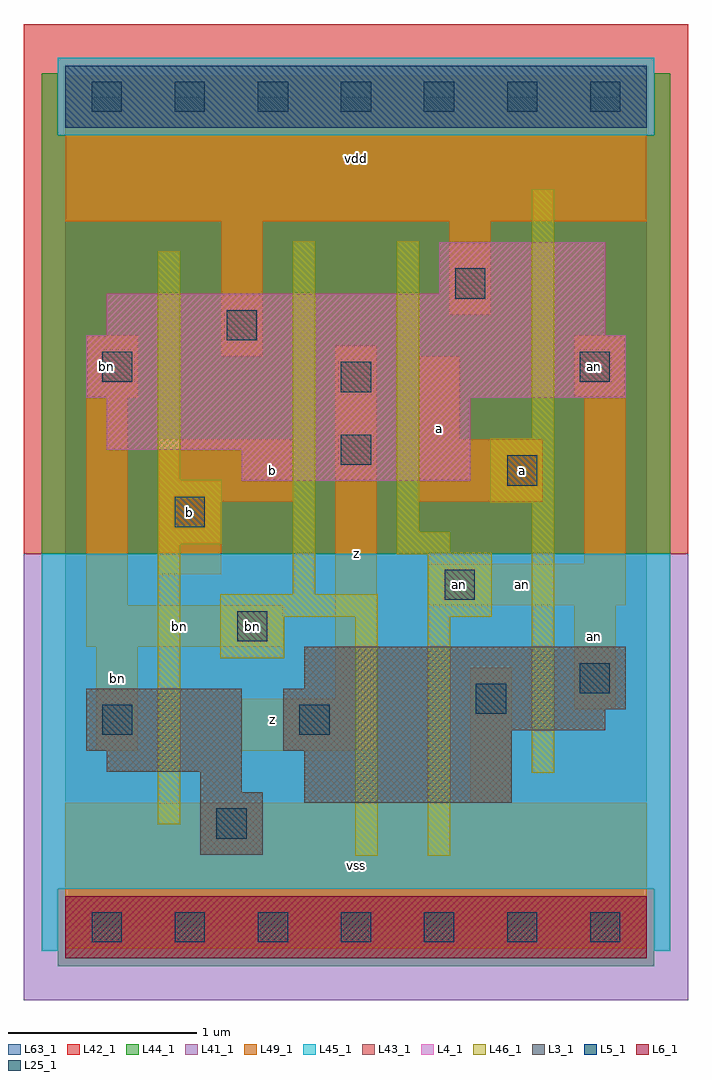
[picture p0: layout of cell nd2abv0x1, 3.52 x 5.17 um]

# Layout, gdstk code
import gdstk
lib = gdstk.Library(unit=1e-6, precision=1e-09)
def R(c, l, rs):  # rectangles x0, y0, x1, y1
    for r in rs: c.add(gdstk.rectangle(r[:2], r[2:], *l))
def A(c, l, x, y, w, h, nx, ny, dx, dy):  # array of equal rectangles
    R(c, l, [(x+i*dx, y+j*dy, x+i*dx+w, y+j*dy+h) for i in range(nx) for j in range(ny)])
L3_1 = (3, 1)
L4_1 = (4, 1)
L5_1 = (5, 1)
L6_1 = (6, 1)
L25_1 = (25, 1)
L41_1 = (41, 1)
L42_1 = (42, 1)
L43_1 = (43, 1)
L44_1 = (44, 1)
L45_1 = (45, 1)
L46_1 = (46, 1)
L49_1 = (49, 1)
L63_1 = (63, 1)

nd2abv0x1 = lib.new_cell('nd2abv0x1')
R(nd2abv0x1, L3_1, [(0.715,0.385,1.045,0.715), (1.265,0.66,2.365,0.935), (0.715,0.715,0.935,0.825), (0.22,0.825,0.935,0.935), (0.11,0.935,0.935,1.265), (1.155,0.935,2.365,1.045), (1.155,1.045,2.86,1.155), (1.155,1.155,2.97,1.265), (1.265,1.265,2.97,1.485)])
R(nd2abv0x1, L4_1, [(0.935,2.365,2.145,2.53), (0.22,2.53,2.145,2.805), (0.11,2.805,2.97,3.135), (0.22,3.135,2.86,3.355), (1.98,3.355,2.86,3.63)])
R(nd2abv0x1, L5_1, [(0,4.235,3.08,4.565)])
R(nd2abv0x1, L6_1, [(0,-0.165,3.08,0.165)])
A(nd2abv0x1, L25_1, 0.14, -0.08, 0.16, 0.16, 7, 2, 0.44, 4.4)
R(nd2abv0x1, L25_1, [(0.8,0.47,0.96,0.63), (0.195,1.02,0.355,1.18), (1.24,1.02,1.4,1.18), (2.175,1.13,2.335,1.29), (2.725,1.24,2.885,1.4), (0.91,1.515,1.07,1.675), (2.01,1.735,2.17,1.895), (0.58,2.12,0.74,2.28), (2.34,2.34,2.5,2.5), (1.46,2.45,1.62,2.61), (1.46,2.835,1.62,2.995), (0.195,2.89,0.355,3.05), (2.725,2.89,2.885,3.05), (0.855,3.11,1.015,3.27), (2.065,3.33,2.225,3.49)])
R(nd2abv0x1, L41_1, [(-0.22,-0.385,3.3,1.98)])
R(nd2abv0x1, L42_1, [(-0.22,1.98,3.3,4.785)])
R(nd2abv0x1, L43_1, [(0,-0.165,3.08,0.165), (0.715,0.385,1.045,0.715), (1.265,0.66,2.365,0.935), (0.715,0.715,0.935,0.825), (0.22,0.825,0.935,0.935), (0.11,0.935,0.935,1.265), (1.155,0.935,2.365,1.045), (1.155,1.045,2.86,1.155), (1.155,1.155,2.97,1.265), (1.265,1.265,2.97,1.485), (0.935,2.365,2.145,2.53), (0.22,2.53,2.145,2.805), (0.11,2.805,2.97,3.135), (0.22,3.135,2.86,3.355), (1.98,3.355,2.86,3.63), (0,4.235,3.08,4.565)])
R(nd2abv0x1, L44_1, [(-0.04,-0.205,3.12,0.205), (-0.125,1.98,3.205,4.195), (-0.125,4.195,-0.04,4.525), (3.12,4.195,3.205,4.525)])
R(nd2abv0x1, L45_1, [(-0.125,-0.125,-0.04,0.205), (3.12,-0.125,3.205,0.205), (-0.125,0.205,3.205,1.98), (-0.04,4.195,3.12,4.605)])
R(nd2abv0x1, L46_1, [(1.535,0.38,1.655,1.645), (1.92,0.38,2.04,1.645), (0.49,0.545,0.61,2.03), (2.47,0.82,2.59,2.25), (0.82,1.425,1.16,1.645), (0.82,1.645,1.655,1.765), (1.92,1.645,2.26,1.975), (1.205,1.765,1.325,3.635), (1.755,1.975,2.26,1.985), (1.755,1.985,2.04,2.095), (0.49,2.03,0.83,2.37), (1.755,2.095,1.875,3.635), (2.25,2.25,2.59,2.59), (0.49,2.37,0.61,3.58), (2.47,2.59,2.59,3.91)])
R(nd2abv0x1, L49_1, [(0,-0.11,3.08,0.66), (2.145,0.66,2.365,1.375), (0.165,0.935,0.385,1.485), (0.935,0.935,1.65,1.21), (2.695,1.155,2.915,1.705), (1.43,1.21,1.65,3.08), (0.11,1.485,1.155,1.705), (0.11,1.705,0.33,2.805), (1.925,1.705,2.97,1.925), (0.495,1.87,0.825,2.255), (2.75,1.925,2.97,2.805), (0.495,2.255,1.21,2.585), (1.87,2.255,2.53,2.585), (1.87,2.585,2.09,3.025), (0.11,2.805,0.385,3.135), (2.695,2.805,2.97,3.135), (0.825,3.025,1.045,3.74), (2.035,3.245,2.255,3.74), (0,3.74,3.08,4.51)])
R(nd2abv0x1, L63_1, [(0,0,3.08,4.4)])
nd2abv0x1.add(gdstk.Label('bn', (0.99,1.595), layer=49, texttype=1))
nd2abv0x1.add(gdstk.Label('an', (2.09,1.815), layer=49, texttype=1))
nd2abv0x1.add(gdstk.Label('bn', (0.275,1.32), layer=49, texttype=1))
nd2abv0x1.add(gdstk.Label('bn', (0.22,2.97), layer=49, texttype=1))
nd2abv0x1.add(gdstk.Label('z', (1.1,1.1), layer=49, texttype=1))
nd2abv0x1.add(gdstk.Label('bn', (0.605,1.595), layer=49, texttype=1))
nd2abv0x1.add(gdstk.Label('b', (1.1,2.42), layer=49, texttype=1))
nd2abv0x1.add(gdstk.Label('b', (0.66,2.2), layer=49, texttype=1))
nd2abv0x1.add(gdstk.Label('vss', (1.54,0.33), layer=49, texttype=1))
nd2abv0x1.add(gdstk.Label('z', (1.54,1.98), layer=49, texttype=1))
nd2abv0x1.add(gdstk.Label('a', (1.98,2.64), layer=49, texttype=1))
nd2abv0x1.add(gdstk.Label('vdd', (1.54,4.07), layer=49, texttype=1))
nd2abv0x1.add(gdstk.Label('an', (2.42,1.815), layer=49, texttype=1))
nd2abv0x1.add(gdstk.Label('an', (2.805,1.54), layer=49, texttype=1))
nd2abv0x1.add(gdstk.Label('a', (2.42,2.42), layer=49, texttype=1))
nd2abv0x1.add(gdstk.Label('an', (2.805,2.97), layer=49, texttype=1))

lib.write_gds('nd2abv0x1.gds')
